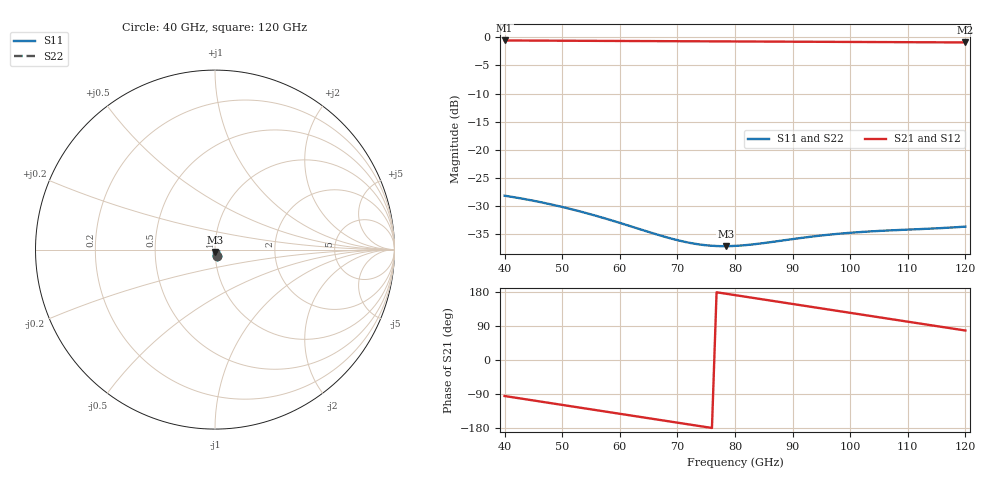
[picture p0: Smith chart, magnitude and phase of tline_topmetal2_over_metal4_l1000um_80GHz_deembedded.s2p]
! Created with skrf 2.2.0 (http://scikit-rf.org).
# GHz S DB R 50.0
! Port[1] = P1
! Port[2] = P2
!freq dBS11 angS11 dBS21 angS21 dBS12 angS12 dBS22 angS22
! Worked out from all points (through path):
!   101 points, 40 GHz to 120 GHz, reference 50 ohm
!   highest |S21| = -0.54 dB at 40 GHz (marker M1); lowest = -0.9 dB at 120 GHz (marker M2)
!   group delay of S21, straight-line fit = 6.5 ps
!   lowest |S11| = -37.2 dB at 78.4 GHz (marker M3), VSWR 1.03, Z = 50.2 - j1.36 ohm
!   |S11| at or under -10 dB: start of sweep to end of sweep
!   |S22| runs from -37.2 to -28.2 dB; largest |S21 - S12| = 1.1e-14
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40  -28.21 -69.3  -0.54 -95.0  -0.54 -95.0  -28.18 -69.5
43.2  -28.76 -75.2  -0.56 -102.5  -0.56 -102.5  -28.72 -75.4
46.4  -29.40 -80.7  -0.57 -110.0  -0.57 -110.0  -29.35 -81.0
49.6  -30.12 -85.7  -0.59 -117.6  -0.59 -117.6  -30.07 -86.0
53.6  -31.15 -90.9  -0.61 -126.9  -0.61 -126.9  -31.10 -91.3
57.6  -32.31 -94.8  -0.62 -136.3  -0.62 -136.3  -32.26 -95.2
60.8  -33.31 -96.6  -0.64 -143.8  -0.64 -143.8  -33.26 -97.0
67.2  -35.35 -95.5  -0.67 -158.8  -0.67 -158.8  -35.31 -96.1
72.8  -36.74 -88.9  -0.69 -171.9  -0.69 -171.9  -36.73 -89.5
78.4  -37.21 -79.4  -0.71 175.0  -0.71 175.0  -37.22 -79.9
80  -37.15 -76.8  -0.72 171.3  -0.72 171.3  -37.17 -77.3
83.2  -36.88 -72.6  -0.73 163.8  -0.73 163.8  -36.90 -73.0
86.4  -36.46 -69.8  -0.75 156.3  -0.75 156.3  -36.48 -70.1
89.6  -36.00 -68.2  -0.76 148.8  -0.76 148.8  -36.01 -68.5
93.6  -35.47 -67.7  -0.78 139.4  -0.78 139.4  -35.47 -67.9
97.6  -35.03 -68.1  -0.80 130.1  -0.80 130.1  -35.03 -68.3
100.8  -34.76 -68.8  -0.81 122.6  -0.81 122.6  -34.76 -69.0
107.2  -34.38 -70.2  -0.84 107.7  -0.84 107.7  -34.39 -70.4
110.4  -34.24 -70.6  -0.85 100.2  -0.85 100.2  -34.26 -70.8
113.6  -34.09 -70.9  -0.87 92.7  -0.87 92.7  -34.13 -71.0
116.8  -33.93 -70.9  -0.88 85.3  -0.88 85.3  -33.98 -71.0
120  -33.72 -70.9  -0.89 77.8  -0.89 77.8  -33.79 -70.9
